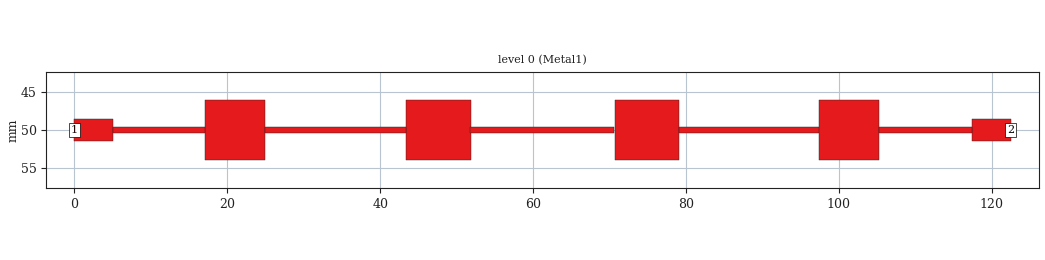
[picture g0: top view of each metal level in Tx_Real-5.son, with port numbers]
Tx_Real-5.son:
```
FTYP SONPROJ 19 ! Sonnet Project File
VER 18.53
HEADER
LIC SL65aa19ee
DAT 04/09/2024 16:40:18
BUILT_BY_CREATED xgeom 18.53-Lite 03/29/2024 21:53:32
BUILT_BY_SAVED sonnet 18.53-Lite
MDATE 04/09/2024 16:32:50
HDATE 04/09/2024 16:32:50
END HEADER
DIM
ANG DEG
CAP PF
CON /OH
FREQ GHZ
IND NH
LNG MM
RES OH
END DIM
CONTROL
VARSWP
OPTIONS  -d
SPEED 0
CACHE_ABS 2
Q_ACC N
END CONTROL
GEO
TMET "Lossless" 0 SUP 0 0 0 0
BMET "Lossless" 0 SUP 0 0 0 0
BOX 1 122.4601 100 2000 2000 20 0
      0.762 1 1 0 0 0 0 "Air"
      0.762 4.4 1 0.02 0 0 0 "FR-4"
TECHLAY METAL Metal1 <UNSPECIFIED> -2 -65534 
0 0 -1 N 272 1 1 100 100 0 0 0 Y
END
END
LORGN 0 100 U 
POR1 BOX
POLY 59 1
3
1 50 0 0 0 0 50 
POR1 BOX
POLY 73 1
1
2 50 0 0 0 122.5074976 50 
NUM 11
0 5 -1 N 59 1 1 100 100 0 0 0 Y
TLAYNAM Metal1 INH
0 48.57239
4.998114048 48.57239
4.998114048 51.42761
0 51.42761
0 48.57239
END
0 5 -1 N 69 1 1 100 100 0 0 0 Y
TLAYNAM Metal1 INH
17.09668636 46.02593625
24.9818604 46.02593625
24.9818604 53.97406375
17.09668636 53.97406375
17.09668636 46.02593625
END
0 5 -1 N 73 1 1 100 100 0 0 0 Y
TLAYNAM Metal1 INH
117.4392359 48.57239
122.5074976 48.57239
122.5074976 51.42761
117.4392359 51.42761
117.4392359 48.57239
END
0 5 -1 N 206 1 1 100 100 0 0 0 Y
TLAYNAM Metal1 INH
43.397568 46.02843625
51.84262701 46.02843625
51.84262701 53.97156375
43.397568 53.97156375
43.397568 46.02843625
END
0 5 -1 N 263 1 1 100 100 0 0 0 Y
TLAYNAM Metal1 INH
51.82280262 49.66415969
70.63729738 49.66415969
70.63729738 50.33584031
51.82280262 50.33584031
51.82280262 49.66415969
END
0 5 -1 N 281 1 1 100 100 0 0 0 Y
TLAYNAM Metal1 INH
24.9818604 49.66415969
43.38856907 49.66415969
43.38856907 50.33584031
24.9818604 50.33584031
24.9818604 49.66415969
END
0 5 -1 N 290 1 1 100 100 0 0 0 Y
TLAYNAM Metal1 INH
70.7061703 46.02843625
79.15122931 46.02843625
79.15122931 53.97156375
70.7061703 53.97156375
70.7061703 46.02843625
END
0 5 -1 N 291 1 1 100 100 0 0 0 Y
TLAYNAM Metal1 INH
79.1092246 49.66415969
97.51593327 49.66415969
97.51593327 50.33584031
79.1092246 50.33584031
79.1092246 49.66415969
END
0 5 -1 N 292 1 1 100 100 0 0 0 Y
TLAYNAM Metal1 INH
97.43051196 46.02593625
105.315686 46.02593625
105.315686 53.97406375
97.43051196 53.97406375
97.43051196 46.02593625
END
0 5 -1 N 293 1 1 100 100 0 0 0 Y
TLAYNAM Metal1 INH
5.0208641 49.66415969
17.144414 49.66415969
17.144414 50.33584031
5.0208641 50.33584031
5.0208641 49.66415969
END
0 5 -1 N 294 1 1 100 100 0 0 0 Y
TLAYNAM Metal1 INH
105.315686 49.66415969
117.4392359 49.66415969
117.4392359 50.33584031
105.315686 50.33584031
105.315686 49.66415969
END
END GEO
OPT
MAX 100
END OPT
VARSWP
ENABLED Y
FREQ N AY ABS_ENTRY UNK 
FREQ Y AN SWEEP 1.0 5.0 0.1
END
END VARSWP
```
